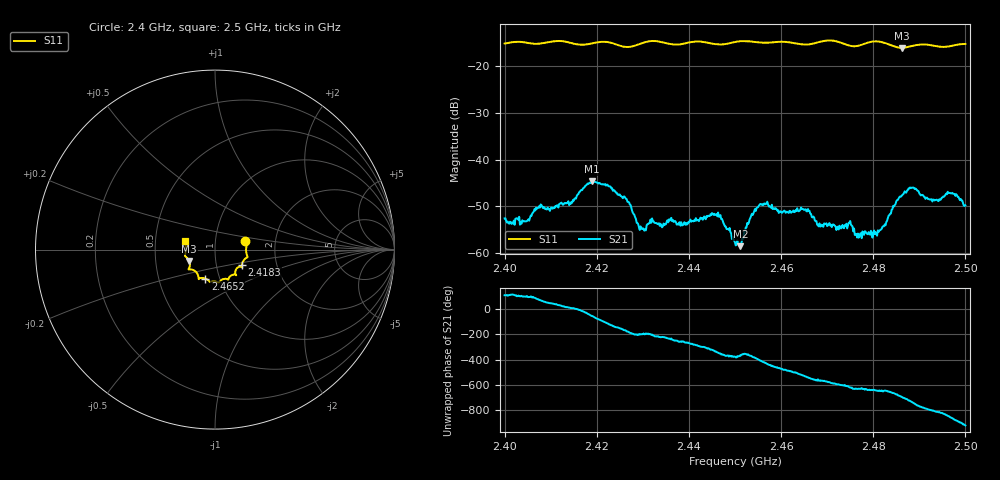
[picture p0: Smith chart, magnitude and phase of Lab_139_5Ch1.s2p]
# Hz S RI R 50
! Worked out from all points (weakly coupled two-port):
!   601 points, 2.4 GHz to 2.5 GHz, reference 50 ohm
!   highest |S21| = -44.62 dB at 2.419 GHz (marker M1); lowest = -58.5 dB at 2.4512 GHz (marker M2)
!   lowest |S11| = -16.1 dB at 2.4862 GHz (marker M3), VSWR 1.37, Z = 37.2 - j4.88 ohm
!   |S11| at or under -10 dB: start of sweep to end of sweep
!   S12 and S22 are empty: the file has one direction only
!   S11 on the Smith chart (normalised r, x): 2.4 GHz: 1.40, +0.14; 2.4183 GHz: 1.33, -0.24; 2.4652 GHz: 0.85, -0.28; 2.5 GHz: 0.71, +0.07
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2.4e9  0.1678 0.0471  -0.000756 0.00222  0 0  0 0
2.404833e9  0.1764 0.0203  -0.000469 0.00215  0 0  0 0
2.416667e9  0.1551 -0.068  0.00458 -0.00119  0 0  0 0
2.418333e9  0.1499 -0.0861  0.00408 -0.0038  0 0  0 0
2.419e9  0.1492 -0.0919  0.00337 -0.00482  0 0  0 0
2.426333e9  0.1232 -0.1025  -0.00377 -0.000563  0 0  0 0
2.429667e9  0.1129 -0.1337  -0.00171 0.000619  0 0  0 0
2.433333e9  0.1171 -0.1414  -0.00166 0.00121  0 0  0 0
2.445833e9  0.0555 -0.1626  0.00234 0.00103  0 0  0 0
2.45e9  0.026 -0.1794  0.00124 -0.000378  0 0  0 0
2.451167e9  0.0226 -0.1834  0.00116 -0.000221  0 0  0 0
2.4555e9  0.00385 -0.1787  0.00218 -0.00255  0 0  0 0
2.465167e9  -0.0544 -0.1613  -0.00289 -0.000369  0 0  0 0
2.466667e9  -0.0705 -0.1578  -0.00237 0.000535  0 0  0 0
2.468333e9  -0.0849 -0.1605  -0.00184 0.000973  0 0  0 0
2.475e9  -0.1012 -0.1304  -0.000366 0.00217  0 0  0 0
2.477e9  -0.1211 -0.1139  4.81e-05 0.00152  0 0  0 0
2.481167e9  -0.1473 -0.1089  0.000532 0.0016  0 0  0 0
2.483333e9  -0.1414 -0.0966  0.000964 0.00231  0 0  0 0
2.486167e9  -0.1432 -0.064  0.00369 0.00177  0 0  0 0
2.496667e9  -0.1618 0.0228  -0.00315 -0.00306  0 0  0 0
2.5e9  -0.166 0.0475  -0.00302 0.00116  0 0  0 0
